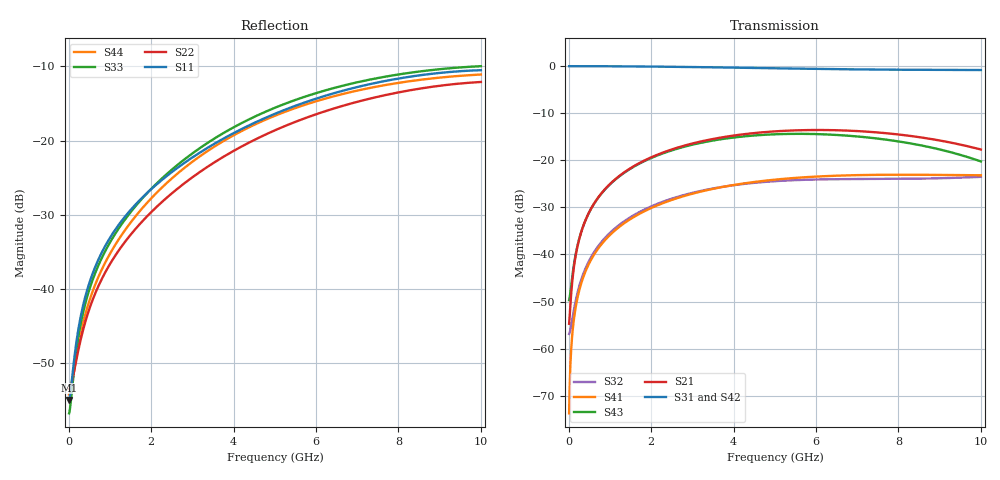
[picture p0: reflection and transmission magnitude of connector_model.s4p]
! Touchstone file from project SAS 2
! Exported from Circuit Design 6.1.0
# GHZ S MA R 50.000000
! Modal data exported
! Port[1] = Port1
! Port[2] = Port2
! Port[3] = Port3
! Port[4] = Port4
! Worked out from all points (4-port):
!   1000 points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, 10 MHz to 10 GHz, reference 50 ohm
!   strongest paths, dB at 10 MHz, 2.51 GHz, 5.01 GHz, 7.51 GHz, 10 GHz:
!     S31: -0.1, -0.2, -0.5, -0.8, -0.9
!     S42: -0.1, -0.2, -0.6, -0.8, -0.8
!     S21: -54.7, -17.7, -13.9, -14.1, -17.7
!     S43: -49.7, -17.9, -14.5, -15.4, -20.3
!     S41: -73.7, -28.4, -24.1, -23.1, -23.2
!     S32: -56.9, -28.1, -24.5, -24.0, -23.5
!   lowest |S11| = -55.0 dB at 10 MHz (marker M1), VSWR 1.00, Z = 49.8 + j0.0215 ohm
!   |S11| at or under -10 dB: start of sweep to end of sweep
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0.01  0.001785 173.1  0.0006382 62.9  0.9932 -0.2  0.0005481 -163.2
      0.001836 17.8  0.002118 3.8  0.001593 -174.7  0.9969 -0.2
      0.9942 -0.2  0.00143 -7.1  0.001454 7.3  0.002978 10.7
      0.0002059 -52.3  0.9936 -0.2  0.003266 9.7  0.001944 4.2
0.14  0.003496 120.3  0.007966 85.6  0.9931 -2.1  0.0023 -106.1
      0.008103 75.3  0.002869 43.1  0.00266 -129.5  0.9968 -2.2
      0.9941 -2.2  0.002783 -62.4  0.003063 56.8  0.008402 67.4
      0.002278 -89.8  0.9935 -2.1  0.008487 65.5  0.002943 43.0
0.42  0.009248 100.6  0.02384 82.5  0.9928 -6.4  0.006726 -103.3
      0.02375 79.0  0.006239 71.7  0.00659 -112.6  0.9961 -6.5
      0.9937 -6.5  0.007302 -88.2  0.00832 64.6  0.02375 76.3
      0.006811 -97.8  0.993 -6.4  0.02372 75.7  0.007015 56.6
0.98  0.02165 93.4  0.05505 73.8  0.991 -15.0  0.01552 -112.4
      0.05472 72.3  0.0144 84.4  0.0149 -116.4  0.9928 -15.1
      0.9918 -15.1  0.01658 -106.9  0.02013 50.8  0.05434 71.5
      0.01575 -110.2  0.9902 -15.0  0.05426 71.4  0.01688 44.3
1.9  0.04436 88.5  0.1031 58.9  0.9851 -29.1  0.0292 -130.4
     0.1023 58.2  0.03089 88.6  0.02802 -132.3  0.9823 -29.1
     0.9854 -29.2  0.03085 -129.4  0.04424 24.5  0.1006 58.8
     0.02963 -129.5  0.9814 -29.0  0.1007 58.8  0.03808 17.7
5.73  0.1811 54.6  0.2089 -3.1  0.9354 -85.9  0.06603 160.9
      0.2084 -2.6  0.1416 59.9  0.06292 158.8  0.9207 -84.2
      0.934 -85.9  0.06193 156.4  0.1978 -51.9  0.1895 6.5
      0.06589 160.0  0.9222 -84.3  0.1902 5.9  0.1745 -57.0
10  0.2985 -10.9  0.1301 -85.1  0.9042 -146.5  0.06765 108.4
    0.1298 -86.0  0.2485 -2.6  0.06377 111.7  0.9159 -144.0
    0.9046 -146.5  0.06651 111.4  0.3177 -103.1  0.09631 -30.1
    0.06915 109.5  0.9147 -144.1  0.09693 -28.4  0.2791 -105.4
